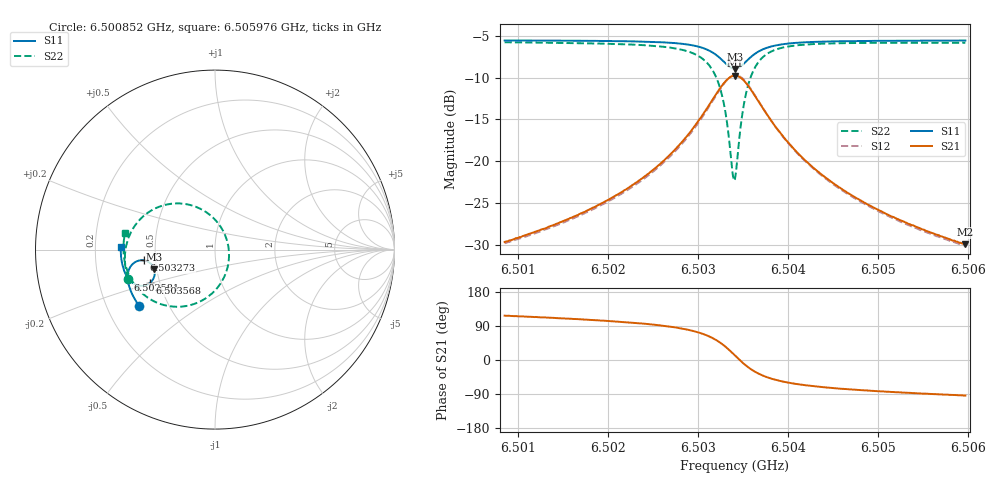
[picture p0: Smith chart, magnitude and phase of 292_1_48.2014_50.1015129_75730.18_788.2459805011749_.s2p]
#  HZ  S  RI  R  50.00
! Rohde & Schwarz Vector Network Analyzer
! Rohde-Schwarz,ZNB20-2Port,1311601062101988,3.16
! Created: UTC 3/20/2024, 11:49:06 AM
! freq[Hz]  re:S11  im:S11  re:S21  im:S21  re:S12  im:S12  re:S22  im:S22
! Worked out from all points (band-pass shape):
!   401 points, 6.500852 GHz to 6.505976 GHz, reference 50 ohm
!   highest |S21| = -9.77 dB at 6.503414 GHz (marker M1); lowest = -29.9 dB at 6.505976 GHz (marker M2)
!   |S21| within 3 dB of the highest: 6.503157 GHz to 6.50367 GHz (512.6 kHz wide, 0.00788 % of centre)
!   lowest |S11| = -9.0 dB at 6.503414 GHz (marker M3), VSWR 2.10, Z = 24.2 - j6.05 ohm
!   |S11| at or under -10 dB: nowhere
!   |S22| runs from -22.3 to -5.8 dB; largest |S21 - S12| = 0.011
!   S11 on the Smith chart (normalised r, x): 6.500852 GHz: 0.34, -0.30; 6.502581 GHz: 0.33, -0.15; 6.503273 GHz: 0.43, -0.06; 6.503568 GHz: 0.44, -0.20; 6.505976 GHz: 0.31, +0.01
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6.5008522e9  -0.4216 -0.3152  -0.015 0.0293  -0.0133 0.0294  -0.4869 -0.1629
6.5017104e9  -0.4592 -0.2527  -0.0144 0.0468  -0.0121 0.0463  -0.5019 -0.0732
6.5021843e9  -0.4764 -0.2111  -0.0117 0.066  -0.00867 0.0649  -0.4996 -0.00709
6.5025686e9  -0.4857 -0.1693  -0.00283 0.0948  0.000688 0.0927  -0.481 0.0679
6.5025814e9  -0.4859 -0.1678  -0.00222 0.0963  0.00134 0.0939  -0.48 0.0711
6.5028248e9  -0.4853 -0.1326  0.016 0.1293  0.0198 0.1255  -0.4413 0.1404
6.5030041e9  -0.4738 -0.0994  0.0507 0.1654  0.0538 0.1599  -0.3731 0.2062
6.5031706e9  -0.4392 -0.0666  0.128 0.1983  0.1292 0.192  -0.2309 0.2566
6.5032731e9  -0.3967 -0.0599  0.2128 0.1892  0.2131 0.1839  -0.0833 0.2283
6.5033243e9  -0.3713 -0.0685  0.2608 0.1613  0.2616 0.1567  -0.00375 0.171
6.5033884e9  -0.3451 -0.0948  0.3079 0.098  0.3104 0.0932  0.0672 0.0495
6.503414e9  -0.3386 -0.1091  0.318 0.0663  0.321 0.0605  0.0777 -0.00969
6.5034268e9  -0.3368 -0.1167  0.3206 0.0499  0.3237 0.0434  0.0782 -0.04
6.5035037e9  -0.3428 -0.1611  0.3035 -0.0436  0.3056 -0.0536  0.0207 -0.2033
6.5035677e9  -0.3638 -0.1865  0.2613 -0.0971  0.2601 -0.108  -0.0745 -0.2847
6.5036702e9  -0.4028 -0.2015  0.1878 -0.1327  0.1824 -0.1421  -0.2224 -0.3183
6.5038367e9  -0.4484 -0.1918  0.1072 -0.1298  0.1003 -0.1349  -0.3674 -0.2724
6.504016e9  -0.4756 -0.1704  0.0634 -0.1102  0.057 -0.1124  -0.4387 -0.2082
6.5042722e9  -0.4961 -0.1405  0.0337 -0.0865  0.0289 -0.087  -0.4816 -0.1369
6.5046693e9  -0.512 -0.0996  0.0144 -0.0629  0.0112 -0.0626  -0.5043 -0.0602
6.5051304e9  -0.5211 -0.0572  0.0049 -0.0472  0.00267 -0.0466  -0.5099 0.00336
6.5059758e9  -0.5258 0.0139  -0.00209 -0.0317  -0.0034 -0.0309  -0.5018 0.0918
